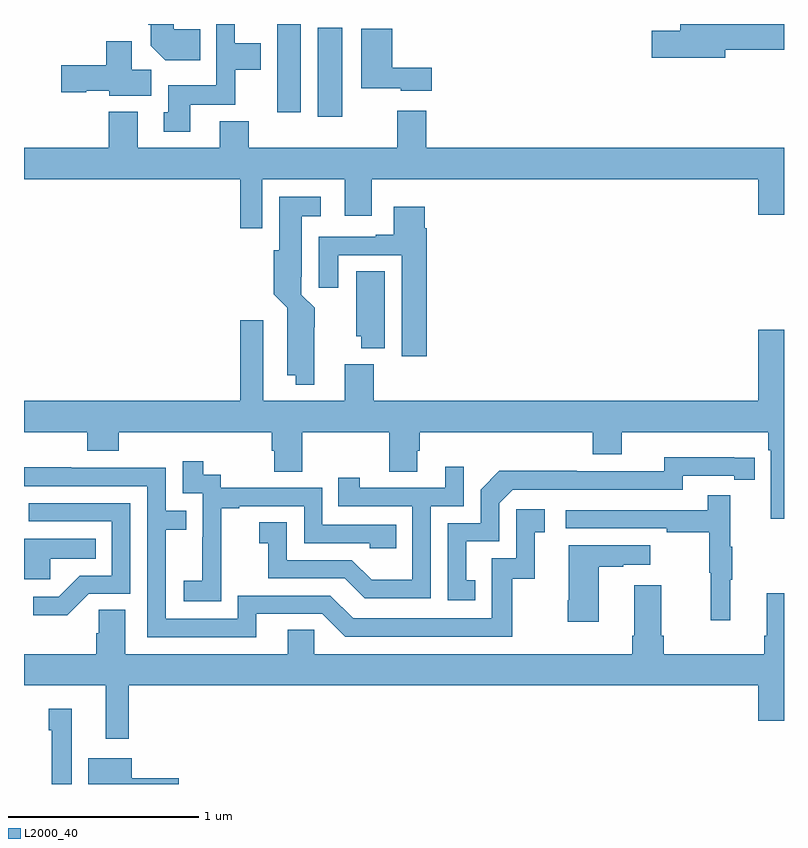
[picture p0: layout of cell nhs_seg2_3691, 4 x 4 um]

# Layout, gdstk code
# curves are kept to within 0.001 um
import gdstk
lib = gdstk.Library(unit=1e-6, precision=1e-09)
def R(c, l, rs):  # rectangles x0, y0, x1, y1
    for r in rs: c.add(gdstk.rectangle(r[:2], r[2:], *l))
def P(c, l, *ps):  # polygons
    for p in ps: c.add(gdstk.Polygon(p, *l))
L2000_40 = (2000, 40)

nhs_seg2_3691 = lib.new_cell('nhs_seg2_3691')
R(nhs_seg2_3691, L2000_40, [(306.545,633.312,306.676,633.781), (306.332,633.336,306.457,633.8)])
P(nhs_seg2_3691, L2000_40, [(305.927,633.772),(305.788,633.772),(305.788,633.8),(305.654,633.8),(305.654,633.796),(305.666,633.796),(305.666,633.686),(305.744,633.608),(305.927,633.608)],
  [(308.692,633.664),(309,633.664),(309,633.8),(308.453,633.8),(308.453,633.764),(308.304,633.764),(308.304,633.622),(308.692,633.622)],
  [(305.875,633.374),(306.111,633.374),(306.111,633.56),(306.247,633.56),(306.247,633.7),(306.108,633.7),(306.108,633.8),(306.012,633.8),(306.012,633.478),(305.759,633.478),(305.759,633.336),(305.735,633.336),(305.735,633.234),(305.875,633.234)],
  [(307.147,633.571),(306.938,633.571),(306.938,633.775),(306.776,633.775),(306.776,633.461),(306.984,633.461),(306.984,633.449),(307.147,633.449)],
  [(305.671,633.56),(305.566,633.56),(305.566,633.709),(305.432,633.709),(305.432,633.584),(305.196,633.584),(305.196,633.442),(305.328,633.442),(305.328,633.449),(305.448,633.449),(305.448,633.422),(305.671,633.422)],
  [(308.864,632.796),(309,632.796),(309,633.148),(307.118,633.148),(307.118,633.343),(306.965,633.343),(306.965,633.148),(306.182,633.148),(306.182,633.289),(306.029,633.289),(306.029,633.148),(305.599,633.148),(305.599,633.337),(305.447,633.337),(305.447,633.148),(305,633.148),(305,632.984),(306.139,632.984),(306.139,632.724),(306.255,632.724),(306.255,632.984),(306.689,632.984),(306.689,632.79),(306.829,632.79),(306.829,632.984),(308.864,632.984)],
  [(306.528,632.204),(306.529,632.306),(306.459,632.376),(306.459,632.47),(306.463,632.47),(306.463,632.789),(306.562,632.789),(306.562,632.89),(306.344,632.89),(306.344,632.61),(306.314,632.61),(306.314,632.378),(306.386,632.306),(306.386,631.952),(306.431,631.952),(306.431,631.901),(306.528,631.901)],
  [(307.121,632.726),(307.108,632.726),(307.108,632.839),(306.947,632.839),(306.947,632.692),(306.851,632.692),(306.851,632.679),(306.551,632.679),(306.551,632.412),(306.655,632.412),(306.655,632.583),(306.989,632.583),(306.989,632.052),(307.121,632.052)],
  [(306.898,632.498),(306.749,632.498),(306.749,632.157),(306.776,632.157),(306.776,632.093),(306.898,632.093)],
  [(309,632.191),(308.864,632.191),(308.864,631.816),(306.842,631.816),(306.842,632.008),(306.689,632.008),(306.689,631.816),(306.259,631.816),(306.259,632.242),(306.137,632.242),(306.137,631.816),(305,631.816),(305,631.652),(305.333,631.652),(305.333,631.553),(305.498,631.553),(305.498,631.652),(306.305,631.652),(306.305,631.554),(306.317,631.554),(306.317,631.444),(306.465,631.444),(306.465,631.652),(306.922,631.652),(306.922,631.444),(307.069,631.444),(307.069,631.554),(307.082,631.554),(307.082,631.652),(307.994,631.652),(307.994,631.535),(308.146,631.535),(308.146,631.652),(308.918,631.652),(308.918,631.556),(308.931,631.556),(308.931,631.197),(309,631.197)],
  [(307.376,630.873),(307.327,630.873),(307.327,631.077),(307.5,631.077),(307.5,631.278),(307.572,631.35),(308.466,631.35),(308.466,631.422),(308.738,631.422),(308.738,631.402),(308.846,631.402),(308.846,631.518),(308.37,631.519),(308.37,631.446),(307.91,631.446),(307.91,631.448),(307.502,631.448),(307.404,631.35),(307.404,631.173),(307.23,631.173),(307.23,630.768),(307.376,630.768)],
  [(306.039,630.967),(306.038,630.967),(306.038,631.251),(306.133,631.251),(306.133,631.263),(306.474,631.263),(306.474,631.068),(306.819,631.068),(306.819,631.041),(306.959,631.041),(306.959,631.164),(306.57,631.164),(306.57,631.359),(306.036,631.359),(306.036,631.428),(305.944,631.428),(305.944,631.498),(305.835,631.498),(305.835,631.329),(305.94,631.329),(305.94,631.1),(305.939,631.1),(305.939,630.871),(305.841,630.871),(305.841,630.761),(306.039,630.761)],
  [(307.14,631.263),(307.314,631.263),(307.314,631.471),(307.217,631.471),(307.217,631.359),(306.766,631.359),(306.766,631.411),(306.655,631.411),(306.655,631.263),(307.044,631.263),(307.044,630.874),(306.83,630.874),(306.726,630.978),(306.384,630.978),(306.384,631.177),(306.237,631.177),(306.237,631.067),(306.286,631.067),(306.286,630.882),(306.689,630.882),(306.794,630.777),(307.14,630.777)],
  [(306.223,630.696),(306.57,630.696),(306.69,630.576),(307.57,630.576),(307.57,630.879),(307.688,630.879),(307.688,631.125),(307.741,631.125),(307.741,631.246),(307.59,631.246),(307.59,630.987),(307.461,630.987),(307.461,630.672),(306.732,630.672),(306.612,630.792),(306.126,630.792),(306.126,630.669),(305.745,630.669),(305.745,631.138),(305.855,631.138),(305.855,631.239),(305.745,631.239),(305.745,631.464),(305.249,631.464),(305.249,631.466),(305,631.466),(305,631.368),(305.649,631.368),(305.649,630.573),(306.223,630.573)],
  [(308.717,630.875),(308.728,630.875),(308.728,631.049),(308.717,631.049),(308.717,631.321),(308.599,631.321),(308.599,631.242),(307.851,631.242),(307.851,631.146),(308.383,631.146),(308.383,631.126),(308.607,631.126),(308.607,630.912),(308.614,630.912),(308.614,630.663),(308.717,630.663)],
  [(305.34,630.801),(305.559,630.801),(305.559,631.278),(305.025,631.278),(305.025,631.182),(305.463,631.182),(305.463,630.897),(305.294,630.897),(305.183,630.786),(305.049,630.786),(305.049,630.689),(305.227,630.689)],
  [(305.139,630.986),(305.378,630.986),(305.378,631.09),(305,631.09),(305,630.878),(305.139,630.878)],
  [(308.026,630.943),(308.153,630.943),(308.153,630.953),(308.296,630.953),(308.296,631.057),(307.868,631.057),(307.868,630.766),(307.861,630.766),(307.861,630.654),(308.026,630.654)],
  [(305.551,630.32),(308.864,630.32),(308.864,630.132),(309,630.132),(309,630.805),(308.909,630.805),(308.909,630.58),(308.897,630.58),(308.897,630.484),(308.366,630.484),(308.366,630.58),(308.353,630.58),(308.353,630.847),(308.213,630.847),(308.213,630.58),(308.201,630.58),(308.201,630.484),(306.528,630.484),(306.528,630.611),(306.389,630.611),(306.389,630.484),(305.533,630.484),(305.533,630.716),(305.394,630.716),(305.394,630.593),(305.381,630.593),(305.381,630.484),(305,630.484),(305,630.32),(305.429,630.32),(305.429,630.039),(305.551,630.039)],
  [(305.251,630.196),(305.13,630.196),(305.13,630.083),(305.147,630.083),(305.147,629.8),(305.251,629.8)],
  [(305.815,629.829),(305.566,629.829),(305.566,629.935),(305.339,629.935),(305.339,629.8),(305.815,629.8)])

lib.write_gds('nhs_seg2_3691.gds')
